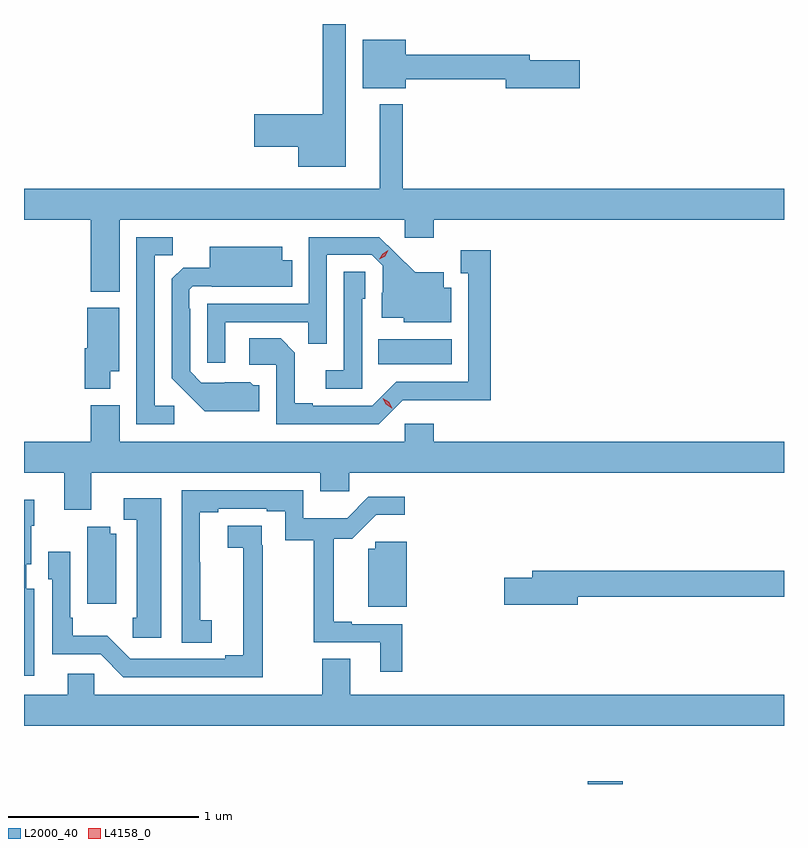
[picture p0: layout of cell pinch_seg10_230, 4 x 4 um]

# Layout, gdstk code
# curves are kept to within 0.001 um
import gdstk
lib = gdstk.Library(unit=1e-6, precision=1e-09)
def R(c, l, rs):  # rectangles x0, y0, x1, y1
    for r in rs: c.add(gdstk.rectangle(r[:2], r[2:], *l))
def P(c, l, *ps):  # polygons
    for p in ps: c.add(gdstk.Polygon(p, *l))
L2000_40 = (2000, 40)
L4158_0 = (4158, 0)

pinch_seg10_230 = lib.new_cell('pinch_seg10_230')
R(pinch_seg10_230, L2000_40, [(615.77,1305.338,615.953,1305.352), (614.668,1307.546,615.055,1307.68)])
P(pinch_seg10_230, L2000_40, [(614.497,1309.338),(614.376,1309.338),(614.376,1308.863),(614.016,1308.863),(614.016,1308.692),(614.246,1308.692),(614.246,1308.587),(614.497,1308.587)],
  [(614.812,1309.048),(615.338,1309.048),(615.338,1309.001),(615.727,1309.001),(615.727,1309.148),(615.466,1309.148),(615.466,1309.177),(614.812,1309.177),(614.812,1309.255),(614.585,1309.255),(614.585,1309.001),(614.812,1309.001)],
  [(613.306,1308.308),(614.808,1308.308),(614.808,1308.213),(614.96,1308.213),(614.96,1308.308),(616.803,1308.308),(616.803,1308.472),(614.797,1308.472),(614.797,1308.916),(614.675,1308.916),(614.675,1308.472),(612.803,1308.472),(612.803,1308.308),(613.154,1308.308),(613.154,1307.93),(613.306,1307.93)],
  [(613.594,1307.328),(613.491,1307.328),(613.491,1308.121),(613.587,1308.121),(613.587,1308.216),(613.395,1308.216),(613.395,1307.232),(613.594,1307.232)],
  [(613.863,1307.769),(614.299,1307.769),(614.299,1307.656),(614.397,1307.656),(614.397,1308.123),(614.634,1308.123),(614.691,1308.066),(614.691,1307.924),(614.687,1307.924),(614.687,1307.792),(614.802,1307.792),(614.802,1307.768),(615.052,1307.768),(615.052,1307.95),(615.013,1307.95),(615.013,1308.031),(614.861,1308.031),(614.674,1308.216),(614.301,1308.216),(614.301,1307.865),(613.767,1307.865),(613.767,1307.556),(613.863,1307.556)],
  [(614.041,1307.436),(614.01,1307.436),(613.994,1307.452),(613.737,1307.451),(613.677,1307.511),(613.677,1307.84),(613.674,1307.84),(613.674,1307.94),(613.692,1307.958),(613.792,1307.958),(613.792,1307.954),(614.216,1307.954),(614.216,1308.094),(614.161,1308.094),(614.161,1308.166),(613.781,1308.166),(613.781,1308.055),(613.64,1308.055),(613.581,1307.996),(613.581,1307.474),(613.753,1307.3),(614.041,1307.3)],
  [(614.796,1307.358),(615.259,1307.357),(615.259,1308.148),(615.101,1308.148),(615.101,1308.027),(615.14,1308.027),(615.14,1307.454),(614.763,1307.454),(614.637,1307.328),(614.323,1307.328),(614.323,1307.341),(614.229,1307.341),(614.229,1307.608),(614.153,1307.684),(613.989,1307.684),(613.989,1307.544),(614.13,1307.544),(614.13,1307.232),(614.67,1307.232)],
  [(614.583,1307.892),(614.598,1307.892),(614.598,1308.035),(614.487,1308.035),(614.487,1307.515),(614.391,1307.515),(614.391,1307.418),(614.583,1307.418)],
  [(613.258,1307.51),(613.303,1307.51),(613.303,1307.845),(613.136,1307.845),(613.136,1307.631),(613.124,1307.631),(613.124,1307.417),(613.258,1307.417)],
  [(613.156,1306.976),(614.363,1306.976),(614.363,1306.878),(614.515,1306.878),(614.515,1306.976),(616.803,1306.976),(616.803,1307.14),(614.96,1307.14),(614.96,1307.233),(614.808,1307.233),(614.808,1307.14),(613.306,1307.14),(613.306,1307.332),(613.154,1307.332),(613.154,1307.14),(612.803,1307.14),(612.803,1306.976),(613.016,1306.976),(613.016,1306.782),(613.156,1306.782)],
  [(614.795,1306.179),(614.527,1306.179),(614.527,1306.192),(614.432,1306.192),(614.432,1306.629),(614.531,1306.629),(614.657,1306.754),(614.806,1306.754),(614.806,1306.851),(614.616,1306.851),(614.503,1306.738),(614.274,1306.738),(614.274,1306.884),(613.632,1306.884),(613.632,1306.081),(613.792,1306.081),(613.792,1306.201),(613.731,1306.201),(613.731,1306.505),(613.729,1306.505),(613.729,1306.768),(613.825,1306.768),(613.825,1306.788),(614.081,1306.788),(614.081,1306.774),(614.178,1306.774),(614.178,1306.621),(614.329,1306.621),(614.329,1306.083),(614.678,1306.083),(614.678,1305.93),(614.795,1305.93)],
  [(613.525,1306.843),(613.329,1306.843),(613.329,1306.728),(613.397,1306.728),(613.397,1306.212),(613.375,1306.212),(613.375,1306.107),(613.525,1306.107)],
  [(612.856,1306.366),(612.814,1306.366),(612.814,1306.494),(612.84,1306.494),(612.84,1306.698),(612.856,1306.698),(612.856,1306.834),(612.803,1306.834),(612.803,1305.909),(612.856,1305.909)],
  [(614.06,1306.595),(614.054,1306.595),(614.054,1306.697),(613.875,1306.697),(613.875,1306.582),(613.957,1306.582),(613.958,1306.016),(613.862,1306.016),(613.862,1305.996),(613.362,1305.996),(613.241,1306.117),(613.06,1306.117),(613.06,1306.213),(613.047,1306.213),(613.047,1306.561),(612.93,1306.561),(612.93,1306.416),(612.951,1306.416),(612.951,1306.02),(613.206,1306.02),(613.326,1305.9),(614.06,1305.9)],
  [(613.288,1306.654),(613.256,1306.654),(613.256,1306.691),(613.136,1306.691),(613.136,1306.287),(613.288,1306.287)],
  [(614.818,1306.612),(614.652,1306.612),(614.652,1306.576),(614.615,1306.576),(614.615,1306.271),(614.818,1306.271)],
  [(615.718,1306.324),(616.803,1306.324),(616.803,1306.46),(615.479,1306.46),(615.479,1306.424),(615.33,1306.424),(615.33,1306.282),(615.718,1306.282)],
  [(613.034,1305.918),(613.034,1305.808),(612.803,1305.808),(612.803,1305.644),(616.803,1305.644),(616.803,1305.808),(614.521,1305.808),(614.521,1305.998),(614.374,1305.998),(614.374,1305.808),(613.173,1305.808),(613.173,1305.918)])
P(pinch_seg10_230, L4158_0, [(614.739,1307.316),(614.708,1307.336),(614.691,1307.369),(614.691,1307.369),(614.691,1307.369),(614.723,1307.349),(614.74,1307.316),(614.74,1307.316)],
  [(614.673,1308.1),(614.673,1308.1),(614.69,1308.13),(614.721,1308.146),(614.721,1308.146),(614.721,1308.146),(614.704,1308.116),(614.674,1308.1)])

lib.write_gds('pinch_seg10_230.gds')
